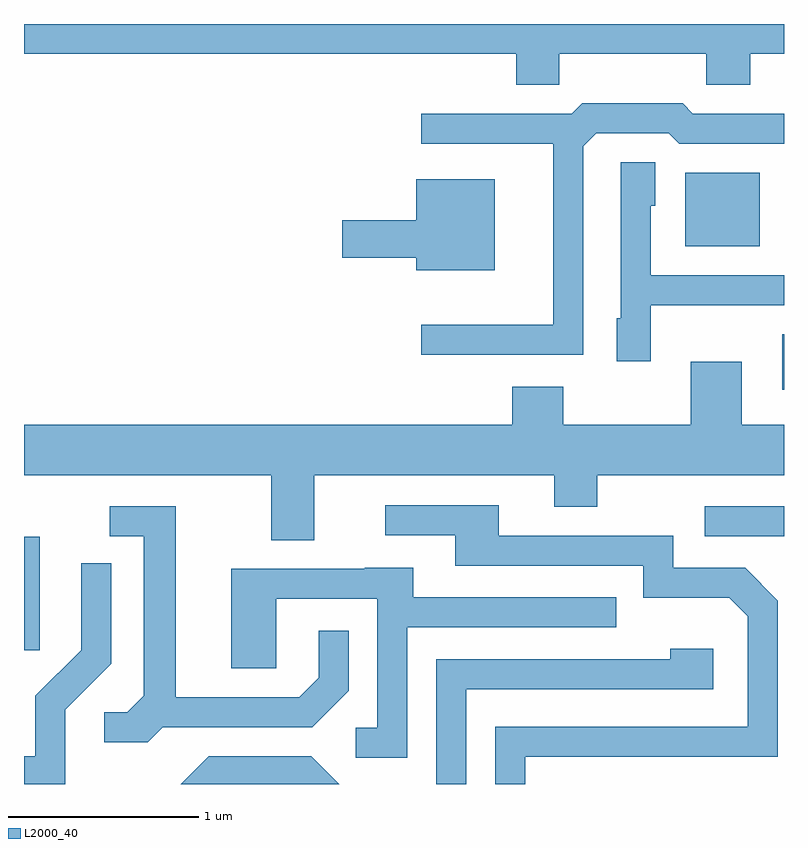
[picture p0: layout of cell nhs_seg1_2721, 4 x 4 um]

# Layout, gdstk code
import gdstk
lib = gdstk.Library(unit=1e-6, precision=1e-09)
def R(c, l, rs):  # rectangles x0, y0, x1, y1
    for r in rs: c.add(gdstk.rectangle(r[:2], r[2:], *l))
def P(c, l, *ps):  # polygons
    for p in ps: c.add(gdstk.Polygon(p, *l))
L2000_40 = (2000, 40)

nhs_seg1_2721 = lib.new_cell('nhs_seg1_2721')
R(nhs_seg1_2721, L2000_40, [(267.611,916.416,267.694,917.014), (271.193,917.016,271.611,917.174), (271.601,917.786,271.611,918.079), (271.091,918.541,271.484,918.929)])
P(nhs_seg1_2721, L2000_40, [(271.201,919.391),(271.434,919.391),(271.434,919.556),(271.611,919.556),(271.611,919.712),(267.611,919.712),(267.611,919.556),(270.201,919.556),(270.201,919.391),(270.429,919.391),(270.429,919.556),(271.201,919.556)],
  [(270.554,919.069),(270.622,919.136),(271.004,919.136),(271.059,919.081),(271.611,919.081),(271.611,919.239),(271.132,919.239),(271.077,919.294),(270.549,919.294),(270.494,919.239),(269.703,919.239),(269.703,919.081),(270.396,919.081),(270.396,918.129),(269.703,918.129),(269.703,917.971),(270.554,917.971)],
  [(270.909,918.231),(271.611,918.231),(271.611,918.389),(270.909,918.389),(270.909,918.756),(270.934,918.756),(270.934,918.984),(270.751,918.984),(270.751,918.164),(270.731,918.164),(270.731,917.936),(270.909,917.936)],
  [(270.089,918.894),(269.676,918.894),(269.676,918.679),(269.286,918.679),(269.286,918.481),(269.676,918.481),(269.676,918.416),(270.089,918.416)],
  [(269.139,917.336),(270.401,917.336),(270.401,917.171),(270.629,917.171),(270.629,917.336),(271.611,917.336),(271.611,917.604),(271.389,917.604),(271.389,917.934),(271.121,917.934),(271.121,917.604),(270.449,917.604),(270.449,917.804),(270.181,917.804),(270.181,917.604),(267.611,917.604),(267.611,917.336),(268.911,917.336),(268.911,916.996),(269.139,916.996)],
  [(270.249,915.856),(271.579,915.856),(271.579,916.677),(271.407,916.849),(271.029,916.849),(271.029,917.019),(270.109,917.019),(270.109,917.179),(269.513,917.179),(269.513,917.021),(269.881,917.021),(269.881,916.861),(270.871,916.861),(270.871,916.691),(271.324,916.691),(271.421,916.594),(271.421,916.014),(270.091,916.014),(270.091,915.712),(270.249,915.712)],
  [(268.342,916.011),(269.127,916.011),(269.319,916.204),(269.319,916.518),(269.161,916.518),(269.161,916.272),(269.059,916.169),(268.409,916.169),(268.409,917.174),(268.063,917.174),(268.063,917.016),(268.241,917.016),(268.241,916.177),(268.154,916.089),(268.033,916.089),(268.033,915.931),(268.262,915.931)],
  [(267.829,916.104),(268.069,916.344),(268.069,916.873),(267.911,916.873),(267.911,916.417),(267.671,916.177),(267.671,915.859),(267.611,915.859),(267.611,915.712),(267.829,915.712)],
  [(269.629,916.536),(270.728,916.536),(270.728,916.694),(269.659,916.694),(269.659,916.849),(269.405,916.849),(269.405,916.844),(268.701,916.844),(268.701,916.321),(268.939,916.321),(268.939,916.686),(269.471,916.686),(269.471,916.009),(269.358,916.009),(269.358,915.851),(269.629,915.851)],
  [(269.939,916.211),(271.239,916.211),(271.239,916.424),(271.011,916.424),(271.011,916.369),(269.781,916.369),(269.781,915.712),(269.939,915.712)],
  [(269.122,915.859),(268.584,915.859),(268.437,915.712),(269.269,915.712)])

lib.write_gds('nhs_seg1_2721.gds')
